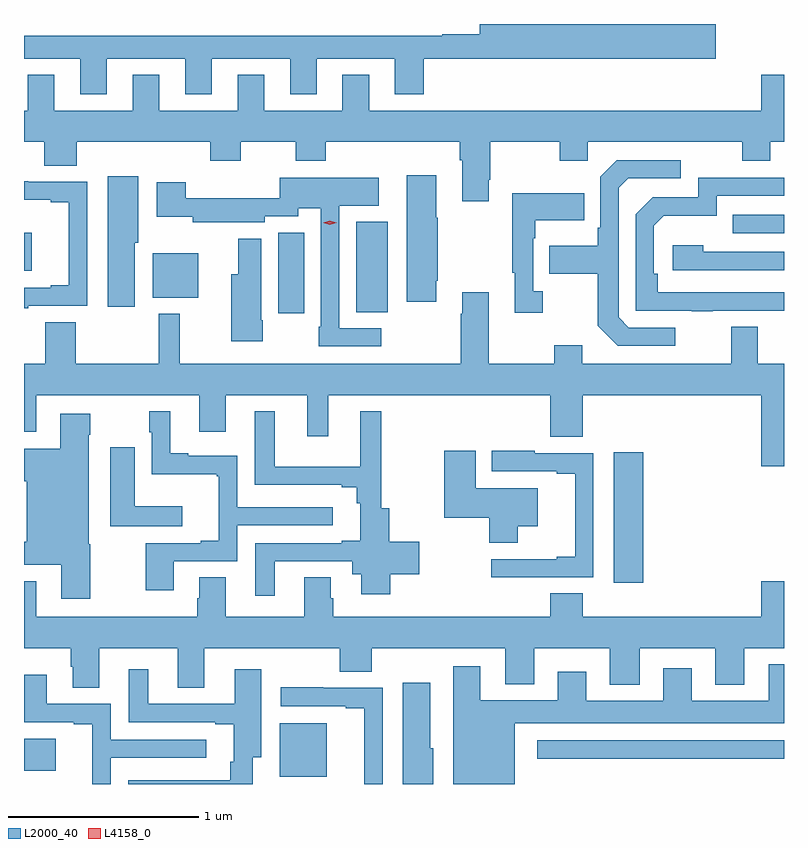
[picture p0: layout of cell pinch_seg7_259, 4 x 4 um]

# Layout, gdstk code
import gdstk
lib = gdstk.Library(unit=1e-6, precision=1e-09)
def R(c, l, rs):  # rectangles x0, y0, x1, y1
    for r in rs: c.add(gdstk.rectangle(r[:2], r[2:], *l))
def P(c, l, *ps):  # polygons
    for p in ps: c.add(gdstk.Polygon(p, *l))
L2000_40 = (2000, 40)
L4158_0 = (4158, 0)

pinch_seg7_259 = lib.new_cell('pinch_seg7_259')
R(pinch_seg7_259, L2000_40, [(797.837,1037.234,798.085,1037.518), (796.491,1037.267,796.657,1037.434), (799.191,1037.33,800.491,1037.427), (799.595,1038.257,799.751,1038.943), (797.828,1039.674,797.965,1040.099), (798.239,1039.681,798.406,1040.155), (797.168,1039.757,797.407,1039.99), (796.491,1039.898,796.531,1040.098), (800.221,1040.097,800.491,1040.193)])
P(pinch_seg7_259, L2000_40, [(796.927,1041.014),(797.339,1041.014),(797.339,1040.826),(797.479,1040.826),(797.479,1041.014),(797.891,1041.014),(797.891,1040.826),(798.031,1040.826),(798.031,1041.014),(798.443,1041.014),(798.443,1040.826),(798.596,1040.826),(798.596,1041.014),(800.131,1041.014),(800.131,1041.197),(798.89,1041.197),(798.89,1041.144),(798.691,1041.144),(798.691,1041.136),(796.491,1041.136),(796.491,1041.014),(796.787,1041.014),(796.787,1040.826),(796.927,1040.826)],
  [(798.937,1040.377),(798.945,1040.377),(798.945,1040.576),(799.312,1040.576),(799.312,1040.477),(799.458,1040.477),(799.458,1040.576),(800.272,1040.576),(800.272,1040.477),(800.419,1040.477),(800.419,1040.576),(800.491,1040.576),(800.491,1040.929),(800.372,1040.929),(800.372,1040.74),(798.307,1040.74),(798.307,1040.929),(798.167,1040.929),(798.167,1040.74),(797.755,1040.74),(797.755,1040.929),(797.615,1040.929),(797.615,1040.74),(797.203,1040.74),(797.203,1040.929),(797.063,1040.929),(797.063,1040.74),(796.651,1040.74),(796.651,1040.929),(796.511,1040.929),(796.511,1040.74),(796.491,1040.74),(796.491,1040.576),(796.598,1040.576),(796.598,1040.452),(796.769,1040.452),(796.769,1040.576),(797.471,1040.576),(797.471,1040.477),(797.631,1040.477),(797.631,1040.576),(797.92,1040.576),(797.92,1040.477),(798.08,1040.477),(798.08,1040.576),(798.785,1040.576),(798.785,1040.48),(798.797,1040.48),(798.797,1040.265),(798.937,1040.265)],
  [(799.918,1039.599),(799.674,1039.599),(799.62,1039.653),(799.62,1040.334),(799.671,1040.385),(799.948,1040.385),(799.948,1040.481),(799.611,1040.481),(799.524,1040.394),(799.524,1040.125),(799.512,1040.125),(799.512,1040.029),(799.255,1040.029),(799.255,1039.882),(799.512,1039.882),(799.512,1039.609),(799.617,1039.503),(799.918,1039.503)],
  [(798.661,1039.846),(798.669,1039.846),(798.669,1040.177),(798.661,1040.177),(798.661,1040.401),(798.506,1040.401),(798.506,1039.734),(798.661,1039.734)],
  [(797.074,1040.046),(797.092,1040.046),(797.092,1040.395),(796.931,1040.395),(796.931,1039.71),(797.074,1039.71)],
  [(798.37,1039.596),(798.15,1039.596),(798.15,1040.24),(798.358,1040.24),(798.358,1040.389),(797.838,1040.389),(797.838,1040.281),(797.342,1040.281),(797.342,1040.365),(797.189,1040.365),(797.189,1040.183),(797.378,1040.183),(797.378,1040.153),(797.758,1040.153),(797.758,1040.184),(797.934,1040.184),(797.934,1040.228),(798.054,1040.228),(798.054,1039.603),(798.042,1039.603),(798.042,1039.5),(798.37,1039.5)],
  [(800.117,1039.689),(800.491,1039.689),(800.491,1039.785),(799.826,1039.785),(799.826,1039.882),(799.806,1039.882),(799.806,1040.136),(799.859,1040.189),(800.136,1040.189),(800.136,1040.292),(800.491,1040.292),(800.491,1040.388),(800.04,1040.388),(800.04,1040.286),(799.8,1040.286),(799.71,1040.196),(799.71,1039.689),(800.005,1039.689),(800.005,1039.684),(800.117,1039.684)],
  [(796.514,1039.713),(796.824,1039.713),(796.824,1040.367),(796.514,1040.367),(796.514,1040.369),(796.491,1040.369),(796.491,1040.271),(796.631,1040.271),(796.631,1040.259),(796.727,1040.259),(796.727,1039.822),(796.631,1039.822),(796.631,1039.809),(796.491,1039.809),(796.491,1039.701),(796.514,1039.701)],
  [(799.222,1039.79),(799.17,1039.79),(799.17,1040.069),(799.183,1040.069),(799.183,1040.165),(799.439,1040.165),(799.439,1040.305),(799.062,1040.305),(799.062,1039.889),(799.073,1039.889),(799.073,1039.677),(799.222,1039.677)],
  [(797.748,1039.639),(797.74,1039.639),(797.74,1040.068),(797.618,1040.068),(797.618,1039.879),(797.582,1039.879),(797.582,1039.527),(797.748,1039.527)],
  [(800.491,1039.998),(800.066,1039.998),(800.066,1040.032),(799.905,1040.032),(799.905,1039.902),(800.491,1039.902)],
  [(800.491,1039.408),(800.353,1039.408),(800.353,1039.603),(800.213,1039.603),(800.213,1039.408),(799.429,1039.408),(799.429,1039.507),(799.282,1039.507),(799.282,1039.408),(798.937,1039.408),(798.937,1039.786),(798.797,1039.786),(798.797,1039.673),(798.79,1039.673),(798.79,1039.408),(797.312,1039.408),(797.312,1039.672),(797.199,1039.672),(797.199,1039.408),(796.764,1039.408),(796.764,1039.628),(796.603,1039.628),(796.603,1039.408),(796.491,1039.408),(796.491,1039.05),(796.555,1039.05),(796.555,1039.244),(797.414,1039.244),(797.414,1039.05),(797.554,1039.05),(797.554,1039.244),(797.981,1039.244),(797.981,1039.026),(798.091,1039.026),(798.091,1039.244),(799.262,1039.244),(799.262,1039.024),(799.433,1039.024),(799.433,1039.244),(800.372,1039.244),(800.372,1038.87),(800.491,1038.87)],
  [(797.812,1038.369),(798.218,1038.369),(798.218,1038.302),(798.266,1038.302),(798.266,1038.197),(798.419,1038.197),(798.419,1038.302),(798.571,1038.302),(798.571,1038.473),(798.414,1038.473),(798.414,1038.649),(798.371,1038.649),(798.371,1039.159),(798.26,1039.159),(798.26,1038.868),(797.812,1038.868),(797.812,1039.159),(797.705,1039.159),(797.705,1038.771),(798.164,1038.771),(798.164,1038.759),(798.243,1038.759),(798.243,1038.674),(798.26,1038.674),(798.26,1038.478),(798.164,1038.478),(798.164,1038.465),(797.708,1038.465),(797.708,1038.189),(797.812,1038.189)],
  [(797.278,1038.369),(797.613,1038.369),(797.613,1038.558),(798.115,1038.558),(798.115,1038.654),(797.613,1038.654),(797.613,1038.924),(797.356,1038.924),(797.356,1038.937),(797.26,1038.937),(797.26,1039.159),(797.151,1039.159),(797.151,1039.049),(797.163,1039.049),(797.163,1038.827),(797.505,1038.827),(797.505,1038.816),(797.516,1038.816),(797.516,1038.478),(797.42,1038.478),(797.42,1038.465),(797.131,1038.465),(797.131,1038.216),(797.278,1038.216)],
  [(796.839,1038.458),(796.831,1038.458),(796.831,1039.034),(796.839,1039.034),(796.839,1039.147),(796.682,1039.147),(796.682,1038.961),(796.491,1038.961),(796.491,1038.791),(796.505,1038.791),(796.505,1038.472),(796.491,1038.472),(796.491,1038.35),(796.688,1038.35),(796.688,1038.171),(796.839,1038.171)],
  [(797.323,1038.658),(797.074,1038.658),(797.074,1038.97),(796.946,1038.97),(796.946,1038.554),(797.323,1038.554)],
  [(799.178,1038.285),(799.488,1038.285),(799.488,1038.939),(799.178,1038.939),(799.178,1038.952),(798.953,1038.952),(798.953,1038.843),(799.295,1038.843),(799.295,1038.831),(799.391,1038.831),(799.391,1038.394),(799.295,1038.394),(799.295,1038.381),(798.951,1038.381),(798.951,1038.284),(799.178,1038.284)],
  [(799.089,1038.554),(799.195,1038.554),(799.195,1038.754),(798.868,1038.754),(798.868,1038.952),(798.703,1038.952),(798.703,1038.599),(798.94,1038.599),(798.94,1038.466),(799.089,1038.466)],
  [(796.888,1037.912),(797.3,1037.912),(797.3,1037.704),(797.44,1037.704),(797.44,1037.912),(798.154,1037.912),(798.154,1037.788),(798.321,1037.788),(798.321,1037.912),(799.025,1037.912),(799.025,1037.723),(799.177,1037.723),(799.177,1037.912),(799.574,1037.912),(799.574,1037.72),(799.732,1037.72),(799.732,1037.912),(800.129,1037.912),(800.129,1037.72),(800.281,1037.72),(800.281,1037.912),(800.491,1037.912),(800.491,1038.265),(800.372,1038.265),(800.372,1038.076),(799.433,1038.076),(799.433,1038.2),(799.262,1038.2),(799.262,1038.076),(798.119,1038.076),(798.119,1038.174),(798.106,1038.174),(798.106,1038.284),(797.966,1038.284),(797.966,1038.076),(797.554,1038.076),(797.554,1038.284),(797.414,1038.284),(797.414,1038.174),(797.402,1038.174),(797.402,1038.076),(796.555,1038.076),(796.555,1038.265),(796.491,1038.265),(796.491,1037.912),(796.736,1037.912),(796.736,1037.814),(796.748,1037.814),(796.748,1037.704),(796.888,1037.704)],
  [(799.075,1037.516),(800.491,1037.516),(800.491,1037.827),(800.411,1037.827),(800.411,1037.635),(800.005,1037.635),(800.005,1037.805),(799.856,1037.805),(799.856,1037.635),(799.45,1037.635),(799.45,1037.788),(799.301,1037.788),(799.301,1037.638),(798.892,1037.638),(798.892,1037.818),(798.749,1037.818),(798.749,1037.197),(799.075,1037.197)],
  [(797.695,1037.339),(797.74,1037.339),(797.74,1037.8),(797.6,1037.8),(797.6,1037.619),(797.146,1037.619),(797.146,1037.8),(797.042,1037.8),(797.042,1037.523),(797.498,1037.523),(797.498,1037.511),(797.594,1037.511),(797.594,1037.314),(797.577,1037.314),(797.577,1037.217),(797.039,1037.217),(797.039,1037.197),(797.695,1037.197)],
  [(796.947,1037.334),(797.449,1037.334),(797.449,1037.43),(796.947,1037.43),(796.947,1037.619),(796.612,1037.619),(796.612,1037.773),(796.491,1037.773),(796.491,1037.523),(796.754,1037.523),(796.754,1037.511),(796.85,1037.511),(796.85,1037.197),(796.947,1037.197)],
  [(798.646,1037.385),(798.628,1037.385),(798.628,1037.731),(798.485,1037.731),(798.485,1037.197),(798.646,1037.197)],
  [(798.378,1037.703),(798.065,1037.703),(798.065,1037.705),(797.841,1037.705),(797.841,1037.607),(798.185,1037.607),(798.185,1037.595),(798.281,1037.595),(798.281,1037.197),(798.378,1037.197)])
P(pinch_seg7_259, L4158_0, [(798.101,1040.141),(798.066,1040.15),(798.066,1040.15),(798.066,1040.15),(798.101,1040.161),(798.136,1040.152),(798.136,1040.151),(798.136,1040.151)])

lib.write_gds('pinch_seg7_259.gds')
